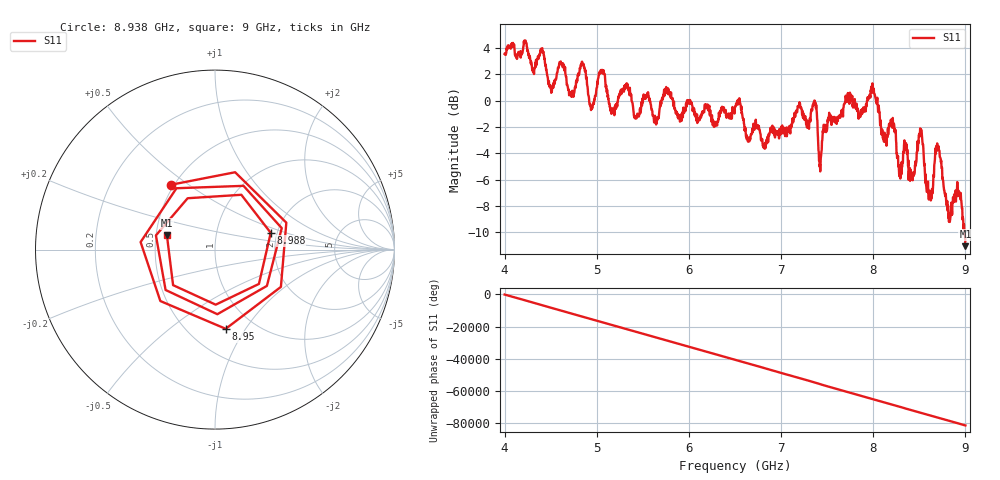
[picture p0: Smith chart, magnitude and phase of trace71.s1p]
! Created with skrf 1.8.0 (http://scikit-rf.org).
# Hz S RI R 50.0
!freq ReS11 ImS11
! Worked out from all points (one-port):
!   1601 points, 4 GHz to 9 GHz, reference 50 ohm
!   lowest |S11| = -11.1 dB at 9 GHz (marker M1), VSWR 1.78, Z = 28.6 + j4.93 ohm
!   |S11| at or under -10 dB: 8.98975 GHz to end of sweep
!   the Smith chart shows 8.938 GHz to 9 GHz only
!   S11 on the Smith chart (normalised r, x): 8.938 GHz: 0.48, +0.43; 8.95 GHz: 0.74, -0.82; 8.988 GHz: 1.85, +0.39; 9 GHz: 0.57, +0.10
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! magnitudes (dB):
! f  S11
! 4 GHz  3.6
! 4.406 GHz  4.0
! 4.509 GHz  0.8
! 4.625 GHz  2.8
! 4.725 GHz  0.4
! 4.853 GHz  2.8
! 4.944 GHz  -0.6
! 5.05 GHz  2.1
! 5.166 GHz  -0.9
! 5.25 GHz  0.5
! 5.875 GHz  -1.0
! 6.5 GHz  -0.4
! 6.822 GHz  -3.7
! 7.125 GHz  -1.5
! 7.362 GHz  0.0
! 7.425 GHz  -5.4
! 7.75 GHz  0.1
! 7.997 GHz  1.0
! 8.109 GHz  -2.9
! 8.375 GHz  -4.5
! 8.516 GHz  -2.6
! 8.603 GHz  -7.5
! 8.697 GHz  -3.8
! 8.816 GHz  -8.9
! 8.938 GHz  -7.2
! 8.95 GHz  -7.0
! 8.988 GHz  -9.8
! 9 GHz  -11.1
